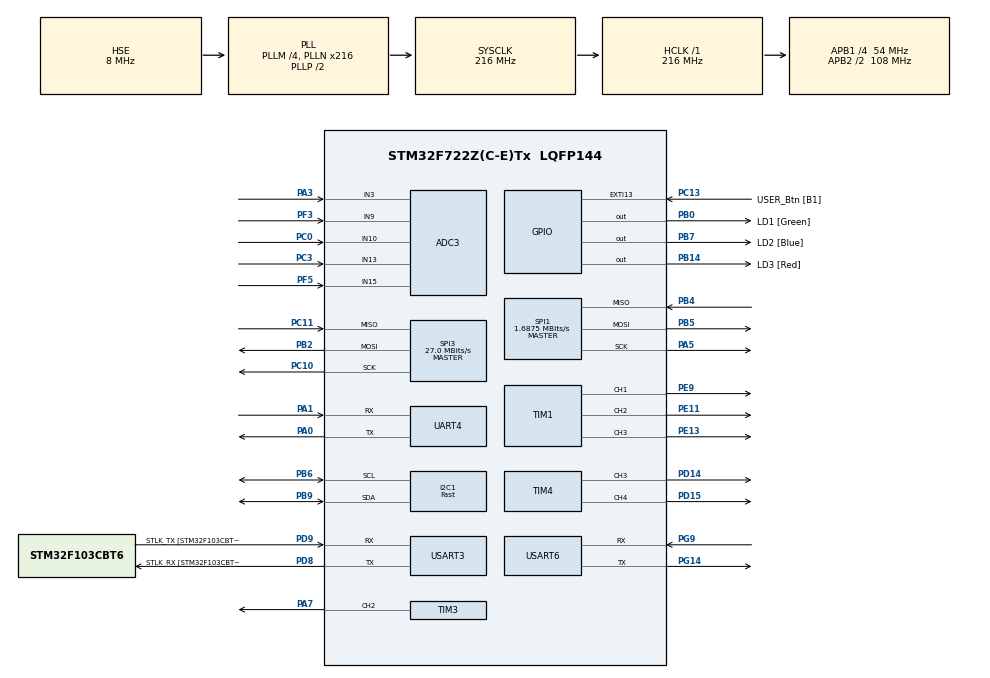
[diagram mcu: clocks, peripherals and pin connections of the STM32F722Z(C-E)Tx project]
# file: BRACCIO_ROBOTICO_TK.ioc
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ADC3.Channel-1\#ChannelRegularConversion=ADC_CHANNEL_3
ADC3.Channel-2\#ChannelRegularConversion=ADC_CHANNEL_10
ADC3.Channel-3\#ChannelRegularConversion=ADC_CHANNEL_13
ADC3.Channel-4\#ChannelRegularConversion=ADC_CHANNEL_9
ADC3.Channel-5\#ChannelRegularConversion=ADC_CHANNEL_15
ADC3.DMAContinuousRequests=ENABLE
ADC3.EOCSelection=ADC_EOC_SEQ_CONV
ADC3.NbrOfConversion=5
ADC3.NbrOfConversionFlag=1
ADC3.Rank-1\#ChannelRegularConversion=1
ADC3.Rank-2\#ChannelRegularConversion=2
ADC3.Rank-3\#ChannelRegularConversion=3
ADC3.Rank-4\#ChannelRegularConversion=4
ADC3.Rank-5\#ChannelRegularConversion=5
ADC3.SamplingTime-1\#ChannelRegularConversion=ADC_SAMPLETIME_480CYCLES
ADC3.SamplingTime-2\#ChannelRegularConversion=ADC_SAMPLETIME_480CYCLES
ADC3.SamplingTime-3\#ChannelRegularConversion=ADC_SAMPLETIME_480CYCLES
ADC3.SamplingTime-4\#ChannelRegularConversion=ADC_SAMPLETIME_480CYCLES
ADC3.SamplingTime-5\#ChannelRegularConversion=ADC_SAMPLETIME_480CYCLES
ADC3.ScanConvMode=ADC_SCAN_ENABLE
CORTEX_M7.CPU_DCache=Disabled
CORTEX_M7.CPU_ICache=Disabled
Dma.ADC3.0.Direction=DMA_PERIPH_TO_MEMORY
Dma.ADC3.0.FIFOMode=DMA_FIFOMODE_DISABLE
Dma.ADC3.0.Instance=DMA2_Stream0
Dma.ADC3.0.MemDataAlignment=DMA_MDATAALIGN_WORD
Dma.ADC3.0.MemInc=DMA_MINC_ENABLE
Dma.ADC3.0.Mode=DMA_NORMAL
Dma.ADC3.0.PeriphDataAlignment=DMA_PDATAALIGN_WORD
Dma.ADC3.0.PeriphInc=DMA_PINC_DISABLE
Dma.ADC3.0.Priority=DMA_PRIORITY_LOW
Dma.Request0=ADC3
I2C1.I2C_Speed_Mode=I2C_Fast
I2C1.Timing=0x6000030D
Mcu.Family=STM32F7
Mcu.Name=STM32F722Z(C-E)Tx
Mcu.Package=LQFP144
NVIC.ADC_IRQn=true\:0\:0\:false\:false\:true\:true\:true
NVIC.DMA2_Stream0_IRQn=true\:0\:0\:false\:false\:true\:false\:true
NVIC.PriorityGroup=NVIC_PRIORITYGROUP_4
NVIC.TIM5_IRQn=true\:0\:0\:false\:false\:true\:true\:true
NVIC.USART3_IRQn=true\:0\:0\:false\:false\:true\:true\:true
PA0-WKUP.Mode=Asynchronous
PA0-WKUP.Signal=UART4_TX
PA1.Mode=Asynchronous
PA1.Signal=UART4_RX
PA13.GPIO_Label=TMS
PA13.Mode=Serial_Wire
PA13.Signal=SYS_JTMS-SWDIO
PA14.GPIO_Label=TCK
PA14.Mode=Serial_Wire
PA14.Signal=SYS_JTCK-SWCLK
PA3.Signal=ADCx_IN3
PA5.Mode=Full_Duplex_Master
PA5.Signal=SPI1_SCK
PA7.Signal=S_TIM3_CH2
PB0.GPIO_Label=LD1 [Green]
PB0.Signal=GPIO_Output
PB14.GPIO_Label=LD3 [Red]
PB14.Signal=GPIO_Output
PB2.Mode=Full_Duplex_Master
PB2.Signal=SPI3_MOSI
PB3.GPIO_Label=SWO
PB3.Signal=SYS_JTDO-SWO
PB4.Mode=Full_Duplex_Master
PB4.Signal=SPI1_MISO
PB5.Mode=Full_Duplex_Master
PB5.Signal=SPI1_MOSI
PB6.Mode=I2C
PB6.Signal=I2C1_SCL
PB7.GPIO_Label=LD2 [Blue]
PB7.Signal=GPIO_Output
PB9.Mode=I2C
PB9.Signal=I2C1_SDA
PC0.Signal=ADCx_IN10
PC10.Mode=Full_Duplex_Master
PC10.Signal=SPI3_SCK
PC11.Mode=Full_Duplex_Master
PC11.Signal=SPI3_MISO
PC13.GPIO_Label=USER_Btn [B1]
PC13.Signal=GPXTI13
PC14-OSC32_IN.Mode=LSE-External-Oscillator
PC14-OSC32_IN.Signal=RCC_OSC32_IN
PC15-OSC32_OUT.Mode=LSE-External-Oscillator
PC15-OSC32_OUT.Signal=RCC_OSC32_OUT
PC3.Signal=ADCx_IN13
PD14.Signal=S_TIM4_CH3
PD15.Signal=S_TIM4_CH4
PD8.GPIO_Label=STLK_RX [STM32F103CBT6_PA3]
PD8.Mode=Asynchronous
PD8.Signal=USART3_TX
PD9.GPIO_Label=STLK_TX [STM32F103CBT6_PA2]
PD9.Mode=Asynchronous
PD9.Signal=USART3_RX
PE11.Signal=S_TIM1_CH2
PE13.Signal=S_TIM1_CH3
PE9.Signal=S_TIM1_CH1
PF3.Mode=IN9
PF3.Signal=ADC3_IN9
PF5.Mode=IN15
PF5.Signal=ADC3_IN15
PG14.Mode=Asynchronous
PG14.Signal=USART6_TX
PG9.Mode=Asynchronous
PG9.Signal=USART6_RX
PH0-OSC_IN.GPIO_Label=MCO
PH0-OSC_IN.Mode=HSE-External-Clock-Source
PH0-OSC_IN.Signal=RCC_OSC_IN
PH1-OSC_OUT.Mode=HSE-External-Clock-Source
PH1-OSC_OUT.Signal=RCC_OSC_OUT
ProjectManager.HeapSize=0x200
ProjectManager.StackSize=0x400
ProjectManager.TargetToolchain=STM32CubeIDE
RCC.48MHZClocksFreq_Value=24000000
RCC.AHBFreq_Value=216000000
RCC.APB1CLKDivider=RCC_HCLK_DIV4
RCC.APB1Freq_Value=54000000
RCC.APB1TimFreq_Value=108000000
RCC.APB2CLKDivider=RCC_HCLK_DIV2
RCC.APB2Freq_Value=108000000
RCC.APB2TimFreq_Value=216000000
RCC.CortexFreq_Value=216000000
RCC.HCLKFreq_Value=216000000
RCC.HSE_VALUE=8000000
RCC.HSI_VALUE=16000000
RCC.PLLM=4
RCC.PLLMUL=RCC_PLL_MUL9
RCC.PLLN=216
RCC.PLLQ=9
RCC.PLLSourceVirtual=RCC_PLLSOURCE_HSE
RCC.PRESCALERUSB=RCC_USBCLKSOURCE_PLL_DIV1_5
RCC.SYSCLKFreq_VALUE=216000000
RCC.SYSCLKSource=RCC_SYSCLKSOURCE_PLLCLK
RCC.SYSCLKSourceVirtual=RCC_SYSCLKSOURCE_PLLCLK
RCC.USBFreq_Value=48000000
RCC.VCOOutputFreq_Value=432000000
SH.ADCx_IN10.0=ADC3_IN10,IN10
SH.ADCx_IN13.0=ADC3_IN13,IN13
SH.ADCx_IN3.0=ADC3_IN3,IN3
SH.S_TIM1_CH1.0=TIM1_CH1,PWM Generation1 CH1
SH.S_TIM1_CH2.0=TIM1_CH2,PWM Generation2 CH2
SH.S_TIM1_CH3.0=TIM1_CH3,PWM Generation3 CH3
SH.S_TIM3_CH2.0=TIM3_CH2,PWM Generation2 CH2
SH.S_TIM4_CH3.0=TIM4_CH3,PWM Generation3 CH3
SH.S_TIM4_CH4.0=TIM4_CH4,PWM Generation4 CH4
SPI1.BaudRatePrescaler=SPI_BAUDRATEPRESCALER_64
SPI1.CalculateBaudRate=1.6875 MBits/s
SPI1.DataSize=SPI_DATASIZE_8BIT
SPI1.Direction=SPI_DIRECTION_2LINES
SPI1.Mode=SPI_MODE_MASTER
SPI1.VirtualType=VM_MASTER
SPI3.CalculateBaudRate=27.0 MBits/s
SPI3.Direction=SPI_DIRECTION_2LINES
SPI3.Mode=SPI_MODE_MASTER
SPI3.VirtualType=VM_MASTER
TIM1.Channel-PWM\ Generation1\ CH1=TIM_CHANNEL_1
TIM1.Channel-PWM\ Generation2\ CH2=TIM_CHANNEL_2
TIM1.Channel-PWM\ Generation3\ CH3=TIM_CHANNEL_3
TIM3.Channel-PWM\ Generation2\ CH2=TIM_CHANNEL_2
TIM4.Channel-PWM\ Generation3\ CH3=TIM_CHANNEL_3
TIM4.Channel-PWM\ Generation4\ CH4=TIM_CHANNEL_4
USART3.VirtualMode-Asynchronous=VM_ASYNC
USART6.VirtualMode-Asynchronous=VM_ASYNC
VP_TIM4_VS_ClockSourceINT.Mode=Internal
VP_TIM5_VS_ClockSourceINT.Mode=Internal
board=NUCLEO-F722ZE

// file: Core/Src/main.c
/* USER CODE BEGIN Header */
/**
  ******************************************************************************
  * @file           : main.c
  * @brief          : Main program body
  ******************************************************************************
  * @attention
  *
  * SVILUPPO DEL CODICE PER BRACCIO TINKERCAD.
  * LINGUAGGIO USATO: C
  * AMBIENTE STM32IDE
  * MCU: STM32F722ZE
  *
  * INIZIO DEL RAMO DI SVILUPPO IN C++
  *
  * This software component is licensed by ST under BSD 3-Clause license,
  * the "License"; You may not use this file except in compliance with the
  * License. You may obtain a copy of the License at:
  *                        opensource.org/licenses/BSD-3-Clause
  *
  ******************************************************************************
  */
/* USER CODE END Header */
#include "main.h"

/* USER CODE BEGIN Includes */
#include <servomotoreRC.h>
#include <stdbool.h>
#include <stdio.h>
/* USER CODE END Includes */

/* USER CODE BEGIN PM */
extern char versione[];
extern servoRC RC[];
/* USER CODE END PM */

ADC_HandleTypeDef hadc3;
DMA_HandleTypeDef hdma_adc3;

I2C_HandleTypeDef hi2c1;

SPI_HandleTypeDef hspi1;
SPI_HandleTypeDef hspi3;

TIM_HandleTypeDef htim1;
TIM_HandleTypeDef htim3;
TIM_HandleTypeDef htim4;
TIM_HandleTypeDef htim5;

UART_HandleTypeDef huart4;
UART_HandleTypeDef huart3;
UART_HandleTypeDef huart6;

/* USER CODE BEGIN PV */
#define  DIMBUFF  		64
char READ_BUFF[DIMBUFF];
volatile uint8_t WPTR = 0, RPTR = 0;
uint32_t adc[6], buffer[6], temperature;  // define variables
float vsense = 3.3/1023;
bool ADupdate = false;
/// variabile di conteggio del TICK del timer di sistema
volatile uint32_t TICK = 0, MS100 = 0, S1 = 0;
#define		TIC500		50
/* USER CODE END PV */

void SystemClock_Config(void);
static void MX_GPIO_Init(void);
static void MX_DMA_Init(void);
static void MX_USART3_UART_Init(void);
static void MX_ADC3_Init(void);
static void MX_USART6_UART_Init(void);
static void MX_I2C1_Init(void);
static void MX_TIM1_Init(void);
static void MX_TIM3_Init(void);
static void MX_TIM4_Init(void);
static void MX_TIM5_Init(void);
static void MX_SPI1_Init(void);
static void MX_SPI3_Init(void);
static void MX_UART4_Init(void);
/* USER CODE BEGIN PFP */
void CPU_CACHE_Enable(void);
void loop(void);
void setup(void);
/* USER CODE END PFP */

int main(void)
{

  /* MCU Configuration--------------------------------------------------------*/

  /* Reset of all peripherals, Initializes the Flash interface and the Systick. */
  HAL_Init();

  /* USER CODE BEGIN Init */
  CPU_CACHE_Enable();
  /* USER CODE END Init */

  /* Configure the system clock */
  SystemClock_Config();

  /* Initialize all configured peripherals */
  MX_GPIO_Init();
  MX_DMA_Init();
  MX_USART3_UART_Init();
  MX_ADC3_Init();
  MX_USART6_UART_Init();
  MX_I2C1_Init();
  MX_TIM1_Init();
  MX_TIM3_Init();
  MX_TIM4_Init();
  MX_TIM5_Init();
  MX_SPI1_Init();
  MX_SPI3_Init();
  MX_UART4_Init();
  /* USER CODE BEGIN 2 */
  /// stringa di benvenuto e versione sw
  printf("\n6DOF Robot Arm Control\n");
  printf("%s", versione);
  printf("\n********************\n");
  /// INIZIALIZZAZIONI STRUTTURE DATI SERVI RC
  /// I PWM SONO ANCORA SPENTI
  //  inizializza i 6 motori servoRC posizionando il braccio circai n posizione vertivcale, cioe'
  //  a meta' della cinematica dello snodo
 initRC(RC);
 printf("\n\nInizializzati i servi\n");
 printf("PWM spenti \n");
 //! Due lampeggi dei tre led
 TICK = 0;
 while (TICK < 50);
 HAL_GPIO_TogglePin(GPIOB, LD1_Pin|LD3_Pin|LD2_Pin);
 while (TICK < 100);
 HAL_GPIO_TogglePin(GPIOB, LD1_Pin|LD3_Pin|LD2_Pin);
 while (TICK < 150);
 HAL_GPIO_TogglePin(GPIOB, LD1_Pin|LD3_Pin|LD2_Pin);
 printf("Accendo i PWM e posiziono i motori al centro!\n");
 for (int i = 0; i < 6; i++)
	 //! le strutture dati sono impostate e i PWM vengono avviati
	 goRC(&RC[i]);
 ////HAL_TIM_PWM_Start(&htim3, TIM_CHANNEL_1);
  /* USER CODE END 2 */

  /* Infinite loop */
  /* USER CODE BEGIN WHILE */
  printf("Sblocca il dispositivo premendo il tasto rosso!\n");
  while(HAL_GPIO_ReadPin(GPIOA, GPIO_PIN_5) == GPIO_PIN_RESET); //sblocco con pulsante rosso
  printf("Sbloccato.\nAttendo i messaggi da seriale!\n");

// while(1){
//	int a;
//	a = HAL_GPIO_ReadPin(GPIOF, GPIO_PIN_10);
//	if (a == 1 )
//		break;
// }
 /// settaggio
  setup();

  while (1)
  {
    /* USER CODE END WHILE */

    /* USER CODE BEGIN 3 */
	  HAL_ADC_Start_DMA(&hadc3, buffer, 5);
	  //HAL_Delay (1000);
	//	  GPIO_PinState STATO;
	//	  while (1)
	//		  STATO = HAL_GPIO_ReadPin(GPIOF, GPIO_PIN_12);
	  loop();
  }
  /* USER CODE END 3 */
}

void SystemClock_Config(void)
{
  RCC_OscInitTypeDef RCC_OscInitStruct = {0};
  RCC_ClkInitTypeDef RCC_ClkInitStruct = {0};
  RCC_PeriphCLKInitTypeDef PeriphClkInitStruct = {0};

  /** Configure LSE Drive Capability
  */
  HAL_PWR_EnableBkUpAccess();
  /** Configure the main internal regulator output voltage
  */
  __HAL_RCC_PWR_CLK_ENABLE();
  __HAL_PWR_VOLTAGESCALING_CONFIG(PWR_REGULATOR_VOLTAGE_SCALE1);
  /** Initializes the RCC Oscillators according to the specified parameters
  * in the RCC_OscInitTypeDef structure.
  */
  RCC_OscInitStruct.OscillatorType = RCC_OSCILLATORTYPE_HSE;
  RCC_OscInitStruct.HSEState = RCC_HSE_BYPASS;
  RCC_OscInitStruct.PLL.PLLState = RCC_PLL_ON;
  RCC_OscInitStruct.PLL.PLLSource = RCC_PLLSOURCE_HSE;
  RCC_OscInitStruct.PLL.PLLM = 4;
  RCC_OscInitStruct.PLL.PLLN = 216;
  RCC_OscInitStruct.PLL.PLLP = RCC_PLLP_DIV2;
  RCC_OscInitStruct.PLL.PLLQ = 9;
  if (HAL_RCC_OscConfig(&RCC_OscInitStruct) != HAL_OK)
  {
    Error_Handler();
  }
  /** Activate the Over-Drive mode
  */
  if (HAL_PWREx_EnableOverDrive() != HAL_OK)
  {
    Error_Handler();
  }
  /** Initializes the CPU, AHB and APB buses clocks
  */
  RCC_ClkInitStruct.ClockType = RCC_CLOCKTYPE_HCLK|RCC_CLOCKTYPE_SYSCLK
                              |RCC_CLOCKTYPE_PCLK1|RCC_CLOCKTYPE_PCLK2;
  RCC_ClkInitStruct.SYSCLKSource = RCC_SYSCLKSOURCE_PLLCLK;
  RCC_ClkInitStruct.AHBCLKDivider = RCC_SYSCLK_DIV1;
  RCC_ClkInitStruct.APB1CLKDivider = RCC_HCLK_DIV4;
  RCC_ClkInitStruct.APB2CLKDivider = RCC_HCLK_DIV2;

  if (HAL_RCC_ClockConfig(&RCC_ClkInitStruct, FLASH_LATENCY_7) != HAL_OK)
  {
    Error_Handler();
  }
  PeriphClkInitStruct.PeriphClockSelection = RCC_PERIPHCLK_USART3|RCC_PERIPHCLK_USART6
                              |RCC_PERIPHCLK_UART4|RCC_PERIPHCLK_I2C1;
  PeriphClkInitStruct.Usart3ClockSelection = RCC_USART3CLKSOURCE_PCLK1;
  PeriphClkInitStruct.Uart4ClockSelection = RCC_UART4CLKSOURCE_PCLK1;
  PeriphClkInitStruct.Usart6ClockSelection = RCC_USART6CLKSOURCE_PCLK2;
  PeriphClkInitStruct.I2c1ClockSelection = RCC_I2C1CLKSOURCE_PCLK1;
  if (HAL_RCCEx_PeriphCLKConfig(&PeriphClkInitStruct) != HAL_OK)
  {
    Error_Handler();
  }
}

static void MX_ADC3_Init(void)
{

  ADC_ChannelConfTypeDef sConfig = {0};

  /** Configure the global features of the ADC (Clock, Resolution, Data Alignment and number of conversion)
  */
  hadc3.Instance = ADC3;
  hadc3.Init.ClockPrescaler = ADC_CLOCK_SYNC_PCLK_DIV4;
  hadc3.Init.Resolution = ADC_RESOLUTION_12B;
  hadc3.Init.ScanConvMode = ADC_SCAN_ENABLE;
  hadc3.Init.ContinuousConvMode = DISABLE;
  hadc3.Init.DiscontinuousConvMode = DISABLE;
  hadc3.Init.ExternalTrigConvEdge = ADC_EXTERNALTRIGCONVEDGE_NONE;
  hadc3.Init.ExternalTrigConv = ADC_SOFTWARE_START;
  hadc3.Init.DataAlign = ADC_DATAALIGN_RIGHT;
  hadc3.Init.NbrOfConversion = 5;
  hadc3.Init.DMAContinuousRequests = ENABLE;
  hadc3.Init.EOCSelection = ADC_EOC_SEQ_CONV;
  if (HAL_ADC_Init(&hadc3) != HAL_OK)
  {
    Error_Handler();
  }
  /** Configure for the selected ADC regular channel its corresponding rank in the sequencer and its sample time.
  */
  sConfig.Channel = ADC_CHANNEL_3;
  sConfig.Rank = ADC_REGULAR_RANK_1;
  sConfig.SamplingTime = ADC_SAMPLETIME_480CYCLES;
  if (HAL_ADC_ConfigChannel(&hadc3, &sConfig) != HAL_OK)
  {
    Error_Handler();
  }
  /** Configure for the selected ADC regular channel its corresponding rank in the sequencer and its sample time.
  */
  sConfig.Channel = ADC_CHANNEL_10;
  sConfig.Rank = ADC_REGULAR_RANK_2;
  if (HAL_ADC_ConfigChannel(&hadc3, &sConfig) != HAL_OK)
  {
    Error_Handler();
  }
  /** Configure for the selected ADC regular channel its corresponding rank in the sequencer and its sample time.
  */
  sConfig.Channel = ADC_CHANNEL_13;
  sConfig.Rank = ADC_REGULAR_RANK_3;
  if (HAL_ADC_ConfigChannel(&hadc3, &sConfig) != HAL_OK)
  {
    Error_Handler();
  }
  /** Configure for the selected ADC regular channel its corresponding rank in the sequencer and its sample time.
  */
  sConfig.Channel = ADC_CHANNEL_9;
  sConfig.Rank = ADC_REGULAR_RANK_4;
  if (HAL_ADC_ConfigChannel(&hadc3, &sConfig) != HAL_OK)
  {
    Error_Handler();
  }
  /** Configure for the selected ADC regular channel its corresponding rank in the sequencer and its sample time.
  */
  sConfig.Channel = ADC_CHANNEL_15;
  sConfig.Rank = ADC_REGULAR_RANK_5;
  if (HAL_ADC_ConfigChannel(&hadc3, &sConfig) != HAL_OK)
  {
    Error_Handler();
  }

}

static void MX_I2C1_Init(void)
{

  hi2c1.Instance = I2C1;
  hi2c1.Init.Timing = 0x6000030D;
  hi2c1.Init.OwnAddress1 = 0;
  hi2c1.Init.AddressingMode = I2C_ADDRESSINGMODE_7BIT;
  hi2c1.Init.DualAddressMode = I2C_DUALADDRESS_DISABLE;
  hi2c1.Init.OwnAddress2 = 0;
  hi2c1.Init.OwnAddress2Masks = I2C_OA2_NOMASK;
  hi2c1.Init.GeneralCallMode = I2C_GENERALCALL_DISABLE;
  hi2c1.Init.NoStretchMode = I2C_NOSTRETCH_DISABLE;
  if (HAL_I2C_Init(&hi2c1) != HAL_OK)
  {
    Error_Handler();
  }
  /** Configure Analogue filter
  */
  if (HAL_I2CEx_ConfigAnalogFilter(&hi2c1, I2C_ANALOGFILTER_ENABLE) != HAL_OK)
  {
    Error_Handler();
  }
  /** Configure Digital filter
  */
  if (HAL_I2CEx_ConfigDigitalFilter(&hi2c1, 0) != HAL_OK)
  {
    Error_Handler();
  }

}

static void MX_SPI1_Init(void)
{

  /* SPI1 parameter configuration*/
  hspi1.Instance = SPI1;
  hspi1.Init.Mode = SPI_MODE_MASTER;
  hspi1.Init.Direction = SPI_DIRECTION_2LINES;
  hspi1.Init.DataSize = SPI_DATASIZE_8BIT;
  hspi1.Init.CLKPolarity = SPI_POLARITY_LOW;
  hspi1.Init.CLKPhase = SPI_PHASE_1EDGE;
  hspi1.Init.NSS = SPI_NSS_SOFT;
  hspi1.Init.BaudRatePrescaler = SPI_BAUDRATEPRESCALER_64;
  hspi1.Init.FirstBit = SPI_FIRSTBIT_MSB;
  hspi1.Init.TIMode = SPI_TIMODE_DISABLE;
  hspi1.Init.CRCCalculation = SPI_CRCCALCULATION_DISABLE;
  hspi1.Init.CRCPolynomial = 7;
  hspi1.Init.CRCLength = SPI_CRC_LENGTH_DATASIZE;
  hspi1.Init.NSSPMode = SPI_NSS_PULSE_ENABLE;
  if (HAL_SPI_Init(&hspi1) != HAL_OK)
  {
    Error_Handler();
  }

}

static void MX_SPI3_Init(void)
{

  /* SPI3 parameter configuration*/
  hspi3.Instance = SPI3;
  hspi3.Init.Mode = SPI_MODE_MASTER;
  hspi3.Init.Direction = SPI_DIRECTION_2LINES;
  hspi3.Init.DataSize = SPI_DATASIZE_4BIT;
  hspi3.Init.CLKPolarity = SPI_POLARITY_LOW;
  hspi3.Init.CLKPhase = SPI_PHASE_1EDGE;
  hspi3.Init.NSS = SPI_NSS_SOFT;
  hspi3.Init.BaudRatePrescaler = SPI_BAUDRATEPRESCALER_2;
  hspi3.Init.FirstBit = SPI_FIRSTBIT_MSB;
  hspi3.Init.TIMode = SPI_TIMODE_DISABLE;
  hspi3.Init.CRCCalculation = SPI_CRCCALCULATION_DISABLE;
  hspi3.Init.CRCPolynomial = 7;
  hspi3.Init.CRCLength = SPI_CRC_LENGTH_DATASIZE;
  hspi3.Init.NSSPMode = SPI_NSS_PULSE_ENABLE;
  if (HAL_SPI_Init(&hspi3) != HAL_OK)
  {
    Error_Handler();
  }

}

static void MX_TIM1_Init(void)
{

  /* USER CODE BEGIN TIM1_Init 0 */
  SystemCoreClockUpdate();
  //Calcola il prescaler per ottenere eventi a periodo di 10 us (100000 Hz)
  //uint32_t uwPrescalerValue = (uint32_t)((SystemCoreClock / 2) / 100000) - 1;
  uint32_t uwPrescalerValue = (uint32_t)((SystemCoreClock) / 100000) - 1;
  htim1.Init.Prescaler = uwPrescalerValue;
  /// ogni evento e' da 20us, quindi contando 1000 eventi si arriva a 20 ms
  htim1.Init.Period = 2000 - 1;

  //! system core clock = 216MHz
  /* USER CODE END TIM1_Init 0 */

  TIM_MasterConfigTypeDef sMasterConfig = {0};
  TIM_OC_InitTypeDef sConfigOC = {0};
  TIM_BreakDeadTimeConfigTypeDef sBreakDeadTimeConfig = {0};

  /* USER CODE BEGIN TIM1_Init 1 */
  /// per avere un duty al 5%, occorre impostare Pulse = 2000 * 0,05 = 100
  sConfigOC.Pulse = 100;
  /* USER CODE END TIM1_Init 1 */
  htim1.Instance = TIM1;
  //htim1.Init.Prescaler = 0;
  htim1.Init.CounterMode = TIM_COUNTERMODE_UP;
  //htim1.Init.Period = 65535;
  htim1.Init.ClockDivision = TIM_CLOCKDIVISION_DIV1;
  htim1.Init.RepetitionCounter = 0;
  htim1.Init.AutoReloadPreload = TIM_AUTORELOAD_PRELOAD_DISABLE;
  if (HAL_TIM_PWM_Init(&htim1) != HAL_OK)
  {
    Error_Handler();
  }
  sMasterConfig.MasterOutputTrigger = TIM_TRGO_RESET;
  sMasterConfig.MasterOutputTrigger2 = TIM_TRGO2_RESET;
  sMasterConfig.MasterSlaveMode = TIM_MASTERSLAVEMODE_DISABLE;
  if (HAL_TIMEx_MasterConfigSynchronization(&htim1, &sMasterConfig) != HAL_OK)
  {
    Error_Handler();
  }
  sConfigOC.OCMode = TIM_OCMODE_PWM1;
  //sConfigOC.Pulse = 0;
  sConfigOC.OCPolarity = TIM_OCPOLARITY_HIGH;
  sConfigOC.OCNPolarity = TIM_OCNPOLARITY_HIGH;
  sConfigOC.OCFastMode = TIM_OCFAST_DISABLE;
  sConfigOC.OCIdleState = TIM_OCIDLESTATE_RESET;
  sConfigOC.OCNIdleState = TIM_OCNIDLESTATE_RESET;
  if (HAL_TIM_PWM_ConfigChannel(&htim1, &sConfigOC, TIM_CHANNEL_1) != HAL_OK)
  {
    Error_Handler();
  }
  if (HAL_TIM_PWM_ConfigChannel(&htim1, &sConfigOC, TIM_CHANNEL_2) != HAL_OK)
  {
    Error_Handler();
  }
  if (HAL_TIM_PWM_ConfigChannel(&htim1, &sConfigOC, TIM_CHANNEL_3) != HAL_OK)
  {
    Error_Handler();
  }
  sBreakDeadTimeConfig.OffStateRunMode = TIM_OSSR_DISABLE;
  sBreakDeadTimeConfig.OffStateIDLEMode = TIM_OSSI_DISABLE;
  sBreakDeadTimeConfig.LockLevel = TIM_LOCKLEVEL_OFF;
  sBreakDeadTimeConfig.DeadTime = 0;
  sBreakDeadTimeConfig.BreakState = TIM_BREAK_DISABLE;
  sBreakDeadTimeConfig.BreakPolarity = TIM_BREAKPOLARITY_HIGH;
  sBreakDeadTimeConfig.BreakFilter = 0;
  sBreakDeadTimeConfig.Break2State = TIM_BREAK2_DISABLE;
  sBreakDeadTimeConfig.Break2Polarity = TIM_BREAK2POLARITY_HIGH;
  sBreakDeadTimeConfig.Break2Filter = 0;
  sBreakDeadTimeConfig.AutomaticOutput = TIM_AUTOMATICOUTPUT_DISABLE;
  if (HAL_TIMEx_ConfigBreakDeadTime(&htim1, &sBreakDeadTimeConfig) != HAL_OK)
  {
    Error_Handler();
  }
  /* USER CODE BEGIN TIM1_Init 2 */
  /**TIM1 GPIO Configuration
  PE9     ------> TIM1_CH1
  PE11     ------> TIM1_CH2
  PE13     ------> TIM1_CH3
  */
  /* USER CODE END TIM1_Init 2 */
  HAL_TIM_MspPostInit(&htim1);

}

static void MX_TIM3_Init(void)
{

  /* USER CODE BEGIN TIM3_Init 0 */
	  SystemCoreClockUpdate();
	  //Calcola il prescaler per ottenere eventi a periodo di 10 us (100000 Hz)
	  //uint32_t uwPrescalerValue = (uint32_t)((SystemCoreClock / 2) / 100000) - 1;
	  uint32_t uwPrescalerValue = (uint32_t)((SystemCoreClock) / 100000) - 1;
	  htim1.Init.Prescaler = uwPrescalerValue;
	  /// ogni evento e' da 20us, quindi contando 1000 eventi si arriva a 20 ms
	  htim1.Init.Period = 2000 - 1;

	  //! system core clock = 216MHz
  /* USER CODE END TIM3_Init 0 */

  TIM_MasterConfigTypeDef sMasterConfig = {0};
  TIM_OC_InitTypeDef sConfigOC = {0};

  /* USER CODE BEGIN TIM3_Init 1 */
  /// per avere un duty al 5%, occorre impostare Pulse = 2000 * 0,05 = 100
  sConfigOC.Pulse = 100;
  /* USER CODE END TIM3_Init 1 */
  htim3.Instance = TIM3;
  //htim3.Init.Prescaler = 0;
  htim3.Init.CounterMode = TIM_COUNTERMODE_UP;
  //htim3.Init.Period = 65535;
  htim3.Init.ClockDivision = TIM_CLOCKDIVISION_DIV1;
  htim3.Init.AutoReloadPreload = TIM_AUTORELOAD_PRELOAD_DISABLE;
  if (HAL_TIM_PWM_Init(&htim3) != HAL_OK)
  {
    Error_Handler();
  }
  sMasterConfig.MasterOutputTrigger = TIM_TRGO_RESET;
  sMasterConfig.MasterSlaveMode = TIM_MASTERSLAVEMODE_DISABLE;
  if (HAL_TIMEx_MasterConfigSynchronization(&htim3, &sMasterConfig) != HAL_OK)
  {
    Error_Handler();
  }
  sConfigOC.OCMode = TIM_OCMODE_PWM1;
  //sConfigOC.Pulse = 0;
  sConfigOC.OCPolarity = TIM_OCPOLARITY_HIGH;
  sConfigOC.OCFastMode = TIM_OCFAST_DISABLE;
  if (HAL_TIM_PWM_ConfigChannel(&htim3, &sConfigOC, TIM_CHANNEL_2) != HAL_OK)
  {
    Error_Handler();
  }
  /* USER CODE BEGIN TIM3_Init 2 */
  /**TIM3 GPIO Configuration
  PA7     ------> TIM3_CH2
  */
  /* USER CODE END TIM3_Init 2 */
  HAL_TIM_MspPostInit(&htim3);

}

static void MX_TIM4_Init(void)
{

  /* USER CODE BEGIN TIM4_Init 0 */
	  SystemCoreClockUpdate();
	  //Calcola il prescaler per ottenere eventi a periodo di 10 us (100000 Hz)
	  //uint32_t uwPrescalerValue = (uint32_t)((SystemCoreClock / 2) / 100000) - 1;
	  uint32_t uwPrescalerValue = (uint32_t)((SystemCoreClock) / 100000) - 1;
	  htim1.Init.Prescaler = uwPrescalerValue;
	  /// ogni evento e' da 20us, quindi contando 1000 eventi si arriva a 20 ms
	  htim1.Init.Period = 2000 - 1;

	  //! system core clock = 216MHz
  /* USER CODE END TIM4_Init 0 */

  TIM_ClockConfigTypeDef sClockSourceConfig = {0};
  TIM_MasterConfigTypeDef sMasterConfig = {0};
  TIM_OC_InitTypeDef sConfigOC = {0};

  /* USER CODE BEGIN TIM4_Init 1 */
  /// per avere un duty al 5%, occorre impostare Pulse = 2000 * 0,05 = 100
  sConfigOC.Pulse = 100;
  /* USER CODE END TIM4_Init 1 */
  htim4.Instance = TIM4;
  //htim4.Init.Prescaler = 0;
  htim4.Init.CounterMode = TIM_COUNTERMODE_UP;
  //htim4.Init.Period = 65535;
  htim4.Init.ClockDivision = TIM_CLOCKDIVISION_DIV1;
  htim4.Init.AutoReloadPreload = TIM_AUTORELOAD_PRELOAD_DISABLE;
  if (HAL_TIM_Base_Init(&htim4) != HAL_OK)
  {
    Error_Handler();
  }
  sClockSourceConfig.ClockSource = TIM_CLOCKSOURCE_INTERNAL;
  if (HAL_TIM_ConfigClockSource(&htim4, &sClockSourceConfig) != HAL_OK)
  {
    Error_Handler();
  }
  if (HAL_TIM_PWM_Init(&htim4) != HAL_OK)
  {
    Error_Handler();
  }
  sMasterConfig.MasterOutputTrigger = TIM_TRGO_RESET;
  sMasterConfig.MasterSlaveMode = TIM_MASTERSLAVEMODE_DISABLE;
  if (HAL_TIMEx_MasterConfigSynchronization(&htim4, &sMasterConfig) != HAL_OK)
  {
    Error_Handler();
  }
  sConfigOC.OCMode = TIM_OCMODE_PWM1;
  //sConfigOC.Pulse = 0;
  sConfigOC.OCPolarity = TIM_OCPOLARITY_HIGH;
  sConfigOC.OCFastMode = TIM_OCFAST_DISABLE;
  if (HAL_TIM_PWM_ConfigChannel(&htim4, &sConfigOC, TIM_CHANNEL_3) != HAL_OK)
  {
    Error_Handler();
  }
  if (HAL_TIM_PWM_ConfigChannel(&htim4, &sConfigOC, TIM_CHANNEL_4) != HAL_OK)
  {
    Error_Handler();
  }
  /* USER CODE BEGIN TIM4_Init 2 */
  /**TIM4 GPIO Configuration
  PD14     ------> TIM4_CH3
  PD15     ------> TIM4_CH4
  */
  /* USER CODE END TIM4_Init 2 */
  HAL_TIM_MspPostInit(&htim4);

}

static void MX_TIM5_Init(void)
{

  /* USER CODE BEGIN TIM5_Init 0 */
	SystemCoreClockUpdate();
	//Calcola il prescaler per ottenere un tic ogni 100 us (10000 Hz)
	uint32_t uwPrescalerValue = (uint32_t)((SystemCoreClock / 2) / 10000) - 1;
	htim5.Init.Prescaler = uwPrescalerValue;
    /// conta 100 eventi di periodo 100us, in modo da generare un reload ogni 10ms
    htim5.Init.Period = 100 - 1;
  /* USER CODE END TIM5_Init 0 */

  TIM_ClockConfigTypeDef sClockSourceConfig = {0};
  TIM_MasterConfigTypeDef sMasterConfig = {0};

  htim5.Instance = TIM5;
  //htim5.Init.Prescaler = 0;
  htim5.Init.CounterMode = TIM_COUNTERMODE_UP;
  //htim5.Init.Period = 4294967295;
  htim5.Init.ClockDivision = TIM_CLOCKDIVISION_DIV1;
  htim5.Init.AutoReloadPreload = TIM_AUTORELOAD_PRELOAD_DISABLE;
  if (HAL_TIM_Base_Init(&htim5) != HAL_OK)
  {
    Error_Handler();
  }
  sClockSourceConfig.ClockSource = TIM_CLOCKSOURCE_INTERNAL;
  if (HAL_TIM_ConfigClockSource(&htim5, &sClockSourceConfig) != HAL_OK)
  {
    Error_Handler();
  }
  sMasterConfig.MasterOutputTrigger = TIM_TRGO_RESET;
  sMasterConfig.MasterSlaveMode = TIM_MASTERSLAVEMODE_DISABLE;
  if (HAL_TIMEx_MasterConfigSynchronization(&htim5, &sMasterConfig) != HAL_OK)
  {
    Error_Handler();
  }
  /* USER CODE BEGIN TIM5_Init 2 */
  ////////////////////////////////////////////////////////
  ////////////////////////////////////////////////////////
  ////// DA AGGIUNGERE A "MANO"
  /// abilitazione ad emettere interruzioni
  if (HAL_TIM_Base_Start_IT(&htim5) != HAL_OK)
  {
    /* Starting Error */
    Error_Handler();
  }

  /* USER CODE END TIM5_Init 2 */

}

static void MX_UART4_Init(void)
{

  huart4.Instance = UART4;
  huart4.Init.BaudRate = 115200;
  huart4.Init.WordLength = UART_WORDLENGTH_8B;
  huart4.Init.StopBits = UART_STOPBITS_1;
  huart4.Init.Parity = UART_PARITY_NONE;
  huart4.Init.Mode = UART_MODE_TX_RX;
  huart4.Init.HwFlowCtl = UART_HWCONTROL_NONE;
  huart4.Init.OverSampling = UART_OVERSAMPLING_16;
  huart4.Init.OneBitSampling = UART_ONE_BIT_SAMPLE_DISABLE;
  huart4.AdvancedInit.AdvFeatureInit = UART_ADVFEATURE_NO_INIT;
  if (HAL_UART_Init(&huart4) != HAL_OK)
  {
    Error_Handler();
  }

}

static void MX_USART3_UART_Init(void)
{

  huart3.Instance = USART3;
  huart3.Init.BaudRate = 115200;
  huart3.Init.WordLength = UART_WORDLENGTH_8B;
  huart3.Init.StopBits = UART_STOPBITS_1;
  huart3.Init.Parity = UART_PARITY_NONE;
  huart3.Init.Mode = UART_MODE_TX_RX;
  huart3.Init.HwFlowCtl = UART_HWCONTROL_NONE;
  huart3.Init.OverSampling = UART_OVERSAMPLING_16;
  huart3.Init.OneBitSampling = UART_ONE_BIT_SAMPLE_DISABLE;
  huart3.AdvancedInit.AdvFeatureInit = UART_ADVFEATURE_NO_INIT;
  if (HAL_UART_Init(&huart3) != HAL_OK)
  {
    Error_Handler();
  }

}

static void MX_USART6_UART_Init(void)
{

  huart6.Instance = USART6;
  huart6.Init.BaudRate = 115200;
  huart6.Init.WordLength = UART_WORDLENGTH_8B;
  huart6.Init.StopBits = UART_STOPBITS_1;
  huart6.Init.Parity = UART_PARITY_NONE;
  huart6.Init.Mode = UART_MODE_TX_RX;
  huart6.Init.HwFlowCtl = UART_HWCONTROL_NONE;
  huart6.Init.OverSampling = UART_OVERSAMPLING_16;
  huart6.Init.OneBitSampling = UART_ONE_BIT_SAMPLE_DISABLE;
  huart6.AdvancedInit.AdvFeatureInit = UART_ADVFEATURE_NO_INIT;
  if (HAL_UART_Init(&huart6) != HAL_OK)
  {
    Error_Handler();
  }

}

static void MX_DMA_Init(void)
{

  /* DMA controller clock enable */
  __HAL_RCC_DMA2_CLK_ENABLE();

  /* DMA interrupt init */
  /* DMA2_Stream0_IRQn interrupt configuration */
  HAL_NVIC_SetPriority(DMA2_Stream0_IRQn, 0, 0);
  HAL_NVIC_EnableIRQ(DMA2_Stream0_IRQn);

}

static void MX_GPIO_Init(void)
{
  GPIO_InitTypeDef GPIO_InitStruct = {0};

  /* GPIO Ports Clock Enable */
  __HAL_RCC_GPIOC_CLK_ENABLE();
  __HAL_RCC_GPIOF_CLK_ENABLE();
  __HAL_RCC_GPIOH_CLK_ENABLE();
  __HAL_RCC_GPIOA_CLK_ENABLE();
  __HAL_RCC_GPIOB_CLK_ENABLE();
  __HAL_RCC_GPIOE_CLK_ENABLE();
  __HAL_RCC_GPIOD_CLK_ENABLE();
  __HAL_RCC_GPIOG_CLK_ENABLE();

  /*Configure GPIO pin Output Level */
  HAL_GPIO_WritePin(GPIOB, LD1_Pin|LD3_Pin|LD2_Pin, GPIO_PIN_RESET);

  /*Configure GPIO pin : USER_Btn_Pin */
  GPIO_InitStruct.Pin = USER_Btn_Pin;
  GPIO_InitStruct.Mode = GPIO_MODE_IT_RISING;
  GPIO_InitStruct.Pull = GPIO_NOPULL;
  HAL_GPIO_Init(USER_Btn_GPIO_Port, &GPIO_InitStruct);

  /*Configure GPIO pins : LD1_Pin LD3_Pin LD2_Pin */
  GPIO_InitStruct.Pin = LD1_Pin|LD3_Pin|LD2_Pin;
  GPIO_InitStruct.Mode = GPIO_MODE_OUTPUT_PP;
  GPIO_InitStruct.Pull = GPIO_NOPULL;
  GPIO_InitStruct.Speed = GPIO_SPEED_FREQ_LOW;
  HAL_GPIO_Init(GPIOB, &GPIO_InitStruct);

}

/* USER CODE BEGIN 4 */

/**
  * @brief Richiamata dalla routine di servizio dell'interruzione di fine conversione
  * @param None
  * @retval None
  */
void HAL_ADC_ConvCpltCallback(ADC_HandleTypeDef* hadc)
{
	ADupdate = true;
	for (int i = 0; i < 5; i++)
	{
	   adc[i] = buffer[i];  // store the values in adc[]
	}

        temperature = (((adc[2]*vsense)-.76)/.0025)+25;
}
/* USER CODE END 4 */

void Error_Handler(void)
{
  __disable_irq();
  while (1)
  {
  }
}

/************************ (C) COPYRIGHT STMicroelectronics *****END OF FILE****/
